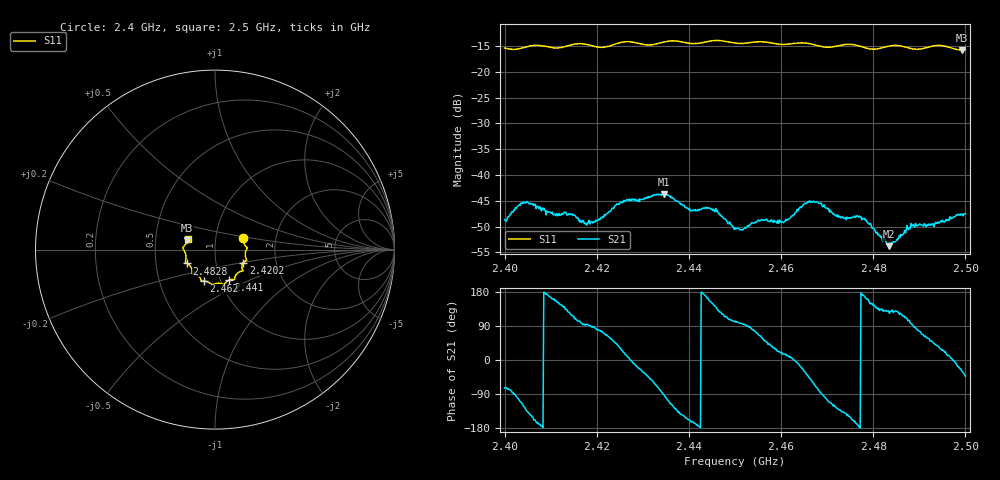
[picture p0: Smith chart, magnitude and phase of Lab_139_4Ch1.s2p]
# Hz S RI R 50
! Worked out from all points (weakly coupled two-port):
!   601 points, 2.4 GHz to 2.5 GHz, reference 50 ohm
!   highest |S21| = -43.69 dB at 2.4345 GHz (marker M1); lowest = -53.8 dB at 2.4833 GHz (marker M2)
!   lowest |S11| = -15.8 dB at 2.4993 GHz (marker M3), VSWR 1.39, Z = 36.5 + j3.9 ohm
!   |S11| at or under -10 dB: start of sweep to end of sweep
!   S12 and S22 are empty: the file has one direction only
!   S11 on the Smith chart (normalised r, x): 2.4 GHz: 1.36, +0.17; 2.4202 GHz: 1.36, -0.20; 2.441 GHz: 1.10, -0.39; 2.462 GHz: 0.84, -0.30; 2.4828 GHz: 0.72, -0.11; 2.5 GHz: 0.73, +0.09
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2.4e9  0.1582 0.062  0.00103 -0.00354  0 0  0 0
2.404667e9  0.1733 0.0158  -0.00362 -0.00403  0 0  0 0
2.411e9  0.1689 -0.0171  -0.00384 0.00156  0 0  0 0
2.414667e9  0.1749 -0.0537  -0.00187 0.00373  0 0  0 0
2.416667e9  0.1769 -0.0606  -0.000436 0.00343  0 0  0 0
2.420167e9  0.1582 -0.0719  0.000578 0.00355  0 0  0 0
2.426333e9  0.156 -0.1179  0.00549 0.00134  0 0  0 0
2.433333e9  0.1119 -0.1509  0.00188 -0.00615  0 0  0 0
2.4345e9  0.1101 -0.1599  -0.00013 -0.00654  0 0  0 0
2.441e9  0.0781 -0.1701  -0.00438 -0.00113  0 0  0 0
2.445667e9  0.0508 -0.1942  -0.00345 0.00272  0 0  0 0
2.45e9  0.0279 -0.1876  -0.000684 0.00301  0 0  0 0
2.462e9  -0.0607 -0.1758  0.00382 0.000577  0 0  0 0
2.466667e9  -0.0788 -0.1677  0.00313 -0.00448  0 0  0 0
2.472667e9  -0.1181 -0.1351  -0.00263 -0.00295  0 0  0 0
2.477667e9  -0.1273 -0.1181  -0.00374 0.000621  0 0  0 0
2.482833e9  -0.1573 -0.0769  -0.00144 0.00168  0 0  0 0
2.483333e9  -0.1603 -0.0754  -0.0013 0.00158  0 0  0 0
2.488667e9  -0.1614 -0.0406  -4.87e-05 0.00331  0 0  0 0
2.494333e9  -0.1796 0.0102  0.00289 0.00184  0 0  0 0
2.499333e9  -0.154 0.0521  0.00359 -0.00213  0 0  0 0
2.5e9  -0.1524 0.0613  0.00309 -0.00289  0 0  0 0
